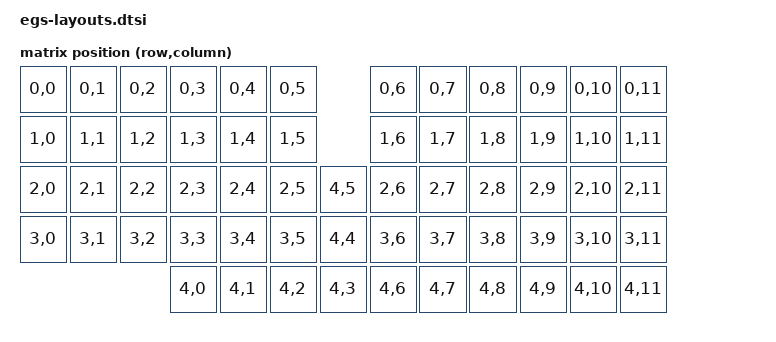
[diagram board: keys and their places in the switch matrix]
/*
 * Copyright (c) 2026 The EGS_W1 Project Contributor
 * SPDX-License-Identifier: MIT
 *
 * EGS_W1  —  5 rows × 12 logical columns (6 left + 6 right)
 *
 * Left MCU:  logical cols  0..5  map to physical cols 0..5  (Col0=outermost)
 * Right MCU: logical cols  6..11 map to physical cols 0..5  (Col0=outermost/rightmost)
 *            so RC(r,6) = right Col0 (rightmost key), RC(r,11) = right Col5 (inner key)
 *
 * Physical layout (Row0 example):
 *   Left:  Esc(0,0) 1(0,1) 2(0,2) 3(0,3) 4(0,4) 5(0,5)  |  6(0,6) 7(0,7) 8(0,8) 9(0,9) 0(0,10) -(0,11)
 *
 * Right side columns are mirrored in hardware, so the transform below
 * reverses them: RC(r,6)..RC(r,11) reads right-MCU cols 5..0 respectively.
 *   RC(0,6)  = right physical Col5 (innermost)  = key "6"
 *   RC(0,11) = right physical Col0 (outermost)  = key "-"
 */

/ {
    layouts {
        compatible = "zmk,physical-layouts";

        default_layout: egs_layout {
            compatible = "zmk,physical-layout";
            display-name = "EGS Default Layout";
            transform = <&matrix_transform>;
        };
    };

    matrix_transform: matrix_transform {
        compatible = "zmk,matrix-transform";
        rows = <5>;
        columns = <12>;

        map = <
           RC(0,0) RC(0,1) RC(0,2) RC(0,3) RC(0,4) RC(0,5)              RC(0,6) RC(0,7) RC(0,8) RC(0,9) RC(0,10) RC(0,11)
           RC(1,0) RC(1,1) RC(1,2) RC(1,3) RC(1,4) RC(1,5)              RC(1,6) RC(1,7) RC(1,8) RC(1,9) RC(1,10) RC(1,11)
           RC(2,0) RC(2,1) RC(2,2) RC(2,3) RC(2,4) RC(2,5) RC(4,5)             RC(2,6) RC(2,7) RC(2,8) RC(2,9) RC(2,10) RC(2,11)
           RC(3,0) RC(3,1) RC(3,2) RC(3,3) RC(3,4) RC(3,5) RC(4,4)             RC(3,6) RC(3,7) RC(3,8) RC(3,9) RC(3,10) RC(3,11)
                                 RC(4,0) RC(4,1) RC(4,2) RC(4,3)      RC(4,6) RC(4,7) RC(4,8) RC(4,9) RC(4,10) RC(4,11)
        >;
    };
};
